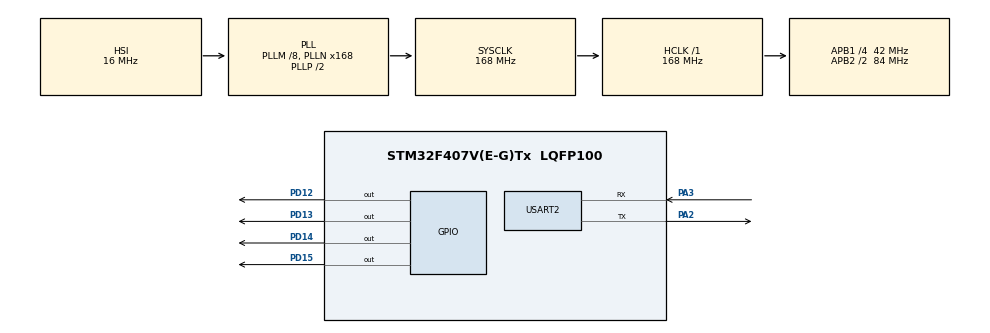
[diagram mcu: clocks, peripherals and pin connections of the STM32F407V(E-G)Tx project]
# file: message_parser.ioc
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Mcu.Family=STM32F4
Mcu.Name=STM32F407V(E-G)Tx
Mcu.Package=LQFP100
NVIC.PriorityGroup=NVIC_PRIORITYGROUP_4
NVIC.USART2_IRQn=true\:0\:0\:false\:false\:true\:true\:true\:true
PA2.Mode=Asynchronous
PA2.Signal=USART2_TX
PA3.Mode=Asynchronous
PA3.Signal=USART2_RX
PD12.Signal=GPIO_Output
PD13.Signal=GPIO_Output
PD14.Signal=GPIO_Output
PD15.Signal=GPIO_Output
PH0-OSC_IN.Mode=HSE-External-Oscillator
PH0-OSC_IN.Signal=RCC_OSC_IN
PH1-OSC_OUT.Mode=HSE-External-Oscillator
PH1-OSC_OUT.Signal=RCC_OSC_OUT
ProjectManager.HeapSize=0x200
ProjectManager.StackSize=0x400
ProjectManager.TargetToolchain=STM32CubeIDE
RCC.48MHZClocksFreq_Value=84000000
RCC.AHBFreq_Value=168000000
RCC.APB1CLKDivider=RCC_HCLK_DIV4
RCC.APB1Freq_Value=42000000
RCC.APB1TimFreq_Value=84000000
RCC.APB2CLKDivider=RCC_HCLK_DIV2
RCC.APB2Freq_Value=84000000
RCC.APB2TimFreq_Value=168000000
RCC.CortexFreq_Value=168000000
RCC.HCLKFreq_Value=168000000
RCC.HSE_VALUE=25000000
RCC.HSI_VALUE=16000000
RCC.LSE_VALUE=32768
RCC.PLLM=8
RCC.PLLN=168
RCC.SYSCLKFreq_VALUE=168000000
RCC.SYSCLKSource=RCC_SYSCLKSOURCE_PLLCLK
RCC.VCOOutputFreq_Value=336000000
USART2.VirtualMode=VM_ASYNC
VP_TIM1_VS_ClockSourceITR.Mode=TriggerSource_ITR0
VP_TIM1_VS_ControllerModeClock.Mode=Clock Mode
board=custom

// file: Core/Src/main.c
/* USER CODE BEGIN Header */
/**
  ******************************************************************************
  * @file           : main.c
  * @brief          : Main program body
  ******************************************************************************
  * @attention
  *
  * Copyright (c) 2023 STMicroelectronics.
  * All rights reserved.
  *
  * This software is licensed under terms that can be found in the LICENSE file
  * in the root directory of this software component.
  * If no LICENSE file comes with this software, it is provided AS-IS.
  *
  ******************************************************************************
  */
/* USER CODE END Header */
#include "main.h"

/* USER CODE BEGIN Includes */
#include "parser.h"
#include "gpio.h"
/* USER CODE END Includes */

/* USER CODE BEGIN PTD */
Message receivedMessage;
Message responseMessage;
int responseData = 0; // Define your response data here
char receivedMessageBuffer[MESSAGE_LENGTH];
/* USER CODE END PTD */

TIM_HandleTypeDef htim1;

UART_HandleTypeDef huart2;

void SystemClock_Config(void);
static void MX_GPIO_Init(void);
static void MX_USART2_UART_Init(void);
static void MX_TIM1_Init(void);
/* USER CODE BEGIN PFP */
void usart_receive(void);
void usart_send(const char *data, size_t length);
void processReceivedMessage(void);
/* USER CODE END PFP */

/* USER CODE BEGIN 0 */

// Handle received USART data
/*void HAL_UART_RxCpltCallback(UART_HandleTypeDef *huart) {
    if (huart == &huart2) {
        processReceivedMessage();
        usart_receive();
    }
}

void HAL_UART_TxCpltCallback(UART_HandleTypeDef *huart) {
    if (huart == &huart2) {
        usart_receive();
    }
}*/

// Process received message

/* USER CODE END 0 */

int main(void)
{

  /* MCU Configuration--------------------------------------------------------*/

  /* Reset of all peripherals, Initializes the Flash interface and the Systick. */
  HAL_Init();

  /* Configure the system clock */
  SystemClock_Config();

  /* Initialize all configured peripherals */
  MX_GPIO_Init();
  MX_USART2_UART_Init();
  MX_TIM1_Init();
  /* USER CODE BEGIN 2 */
  UART_Init();
  /* USER CODE END 2 */

  /* Infinite loop */
  while (1)
  {

    /* USER CODE BEGIN 3 */
	  if (USART_BytesToRead() >= MESSAGE_LENGTH) {

	      for (int i = 0; i < MESSAGE_LENGTH; i++) {
	          receivedMessageBuffer[i] = (char)USART_ReadByte();
	      }
	      ErrorCode parseResult = parseMessage(receivedMessageBuffer, &receivedMessage);

	      if (parseResult == NO_ERROR) {
	          prepareResponse(&receivedMessage, &responseMessage, responseData);
	          adjustLED(&responseMessage);
	          USART_SendByteArray((uint8_t *)&responseMessage, sizeof(responseMessage));
	      }
	  }

  }
  /* USER CODE END 3 */
}

void SystemClock_Config(void)
{
  RCC_OscInitTypeDef RCC_OscInitStruct = {0};
  RCC_ClkInitTypeDef RCC_ClkInitStruct = {0};

  /** Configure the main internal regulator output voltage
  */
  __HAL_RCC_PWR_CLK_ENABLE();
  __HAL_PWR_VOLTAGESCALING_CONFIG(PWR_REGULATOR_VOLTAGE_SCALE1);

  /** Initializes the RCC Oscillators according to the specified parameters
  * in the RCC_OscInitTypeDef structure.
  */
  RCC_OscInitStruct.OscillatorType = RCC_OSCILLATORTYPE_HSI;
  RCC_OscInitStruct.HSIState = RCC_HSI_ON;
  RCC_OscInitStruct.HSICalibrationValue = RCC_HSICALIBRATION_DEFAULT;
  RCC_OscInitStruct.PLL.PLLState = RCC_PLL_ON;
  RCC_OscInitStruct.PLL.PLLSource = RCC_PLLSOURCE_HSI;
  RCC_OscInitStruct.PLL.PLLM = 8;
  RCC_OscInitStruct.PLL.PLLN = 168;
  RCC_OscInitStruct.PLL.PLLP = RCC_PLLP_DIV2;
  RCC_OscInitStruct.PLL.PLLQ = 4;
  if (HAL_RCC_OscConfig(&RCC_OscInitStruct) != HAL_OK)
  {
    Error_Handler();
  }

  /** Initializes the CPU, AHB and APB buses clocks
  */
  RCC_ClkInitStruct.ClockType = RCC_CLOCKTYPE_HCLK|RCC_CLOCKTYPE_SYSCLK
                              |RCC_CLOCKTYPE_PCLK1|RCC_CLOCKTYPE_PCLK2;
  RCC_ClkInitStruct.SYSCLKSource = RCC_SYSCLKSOURCE_PLLCLK;
  RCC_ClkInitStruct.AHBCLKDivider = RCC_SYSCLK_DIV1;
  RCC_ClkInitStruct.APB1CLKDivider = RCC_HCLK_DIV4;
  RCC_ClkInitStruct.APB2CLKDivider = RCC_HCLK_DIV2;

  if (HAL_RCC_ClockConfig(&RCC_ClkInitStruct, FLASH_LATENCY_5) != HAL_OK)
  {
    Error_Handler();
  }
}

static void MX_TIM1_Init(void)
{

  TIM_SlaveConfigTypeDef sSlaveConfig = {0};
  TIM_MasterConfigTypeDef sMasterConfig = {0};

  htim1.Instance = TIM1;
  htim1.Init.Prescaler = 0;
  htim1.Init.CounterMode = TIM_COUNTERMODE_UP;
  htim1.Init.Period = 65535;
  htim1.Init.ClockDivision = TIM_CLOCKDIVISION_DIV1;
  htim1.Init.RepetitionCounter = 0;
  htim1.Init.AutoReloadPreload = TIM_AUTORELOAD_PRELOAD_DISABLE;
  if (HAL_TIM_Base_Init(&htim1) != HAL_OK)
  {
    Error_Handler();
  }
  sSlaveConfig.SlaveMode = TIM_SLAVEMODE_EXTERNAL1;
  sSlaveConfig.InputTrigger = TIM_TS_ITR0;
  if (HAL_TIM_SlaveConfigSynchro(&htim1, &sSlaveConfig) != HAL_OK)
  {
    Error_Handler();
  }
  sMasterConfig.MasterOutputTrigger = TIM_TRGO_RESET;
  sMasterConfig.MasterSlaveMode = TIM_MASTERSLAVEMODE_DISABLE;
  if (HAL_TIMEx_MasterConfigSynchronization(&htim1, &sMasterConfig) != HAL_OK)
  {
    Error_Handler();
  }

}

static void MX_USART2_UART_Init(void)
{

  huart2.Instance = USART2;
  huart2.Init.BaudRate = 115200;
  huart2.Init.WordLength = UART_WORDLENGTH_8B;
  huart2.Init.StopBits = UART_STOPBITS_1;
  huart2.Init.Parity = UART_PARITY_NONE;
  huart2.Init.Mode = UART_MODE_TX_RX;
  huart2.Init.HwFlowCtl = UART_HWCONTROL_NONE;
  huart2.Init.OverSampling = UART_OVERSAMPLING_16;
  if (HAL_UART_Init(&huart2) != HAL_OK)
  {
    Error_Handler();
  }

}

static void MX_GPIO_Init(void)
{
  GPIO_InitTypeDef GPIO_InitStruct = {0};

  /* GPIO Ports Clock Enable */
  __HAL_RCC_GPIOH_CLK_ENABLE();
  __HAL_RCC_GPIOA_CLK_ENABLE();
  __HAL_RCC_GPIOD_CLK_ENABLE();

  /*Configure GPIO pin Output Level */
  HAL_GPIO_WritePin(GPIOD, GPIO_PIN_12|GPIO_PIN_13|GPIO_PIN_14|GPIO_PIN_15, GPIO_PIN_RESET);

  /*Configure GPIO pins : PD12 PD13 PD14 PD15 */
  GPIO_InitStruct.Pin = GPIO_PIN_12|GPIO_PIN_13|GPIO_PIN_14|GPIO_PIN_15;
  GPIO_InitStruct.Mode = GPIO_MODE_OUTPUT_PP;
  GPIO_InitStruct.Pull = GPIO_NOPULL;
  GPIO_InitStruct.Speed = GPIO_SPEED_FREQ_LOW;
  HAL_GPIO_Init(GPIOD, &GPIO_InitStruct);

}

void Error_Handler(void)
{
  __disable_irq();
  while (1)
  {
  }
}
